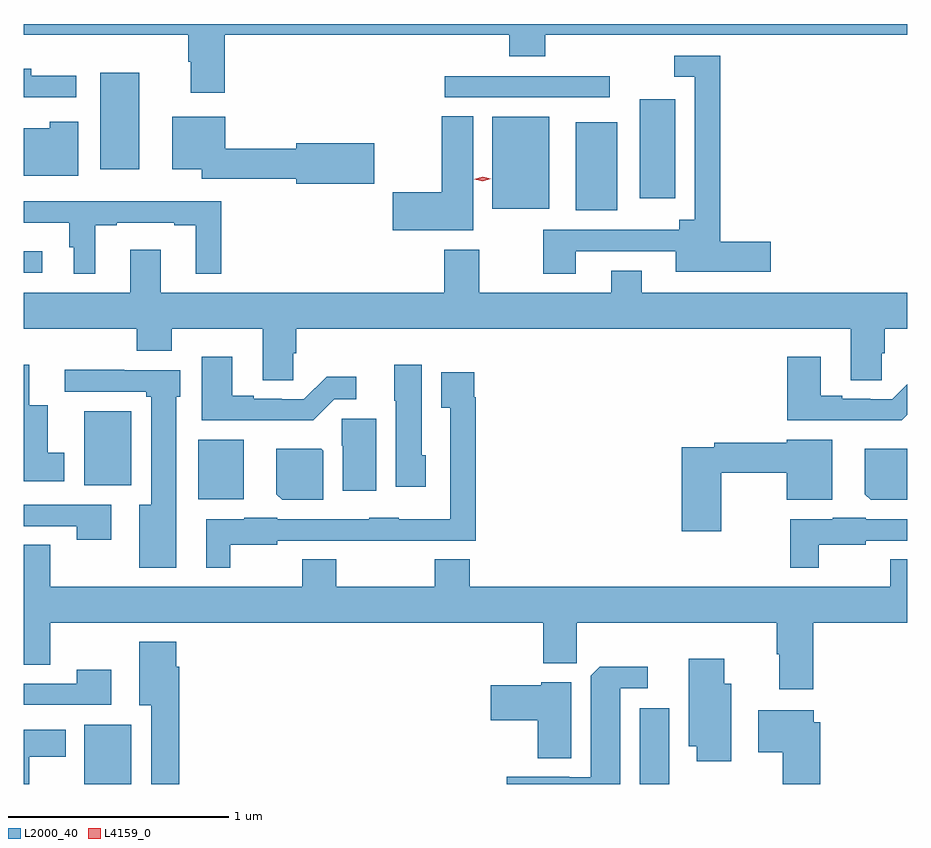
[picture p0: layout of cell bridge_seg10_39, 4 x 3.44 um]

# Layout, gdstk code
import gdstk
lib = gdstk.Library(unit=1e-6, precision=1e-09)
def R(c, l, rs):  # rectangles x0, y0, x1, y1
    for r in rs: c.add(gdstk.rectangle(r[:2], r[2:], *l))
def P(c, l, *ps):  # polygons
    for p in ps: c.add(gdstk.Polygon(p, *l))
L2000_40 = (2000, 40)
L4159_0 = (4159, 0)

bridge_seg10_39 = lib.new_cell('bridge_seg10_39')
R(bridge_seg10_39, L2000_40, [(927.638,1327.559,927.85,1327.828), (930.152,1327.559,930.286,1327.903), (928.154,1328.849,928.36,1329.118), (927.638,1328.912,927.85,1329.247), (927.364,1329.873,927.448,1329.97), (929.864,1330.157,930.052,1330.555), (929.486,1330.163,929.743,1330.579), (930.152,1330.212,930.313,1330.66), (927.71,1330.343,927.886,1330.78), (929.271,1330.668,930.016,1330.764)])
P(bridge_seg10_39, L2000_40, [(929.561,1330.853),(929.726,1330.853),(929.726,1330.952),(931.364,1330.952),(931.364,1331),(927.364,1331),(927.364,1330.952),(928.109,1330.952),(928.109,1330.829),(928.121,1330.829),(928.121,1330.689),(928.274,1330.689),(928.274,1330.952),(929.561,1330.952)],
  [(929.863,1329.972),(930.317,1329.972),(930.317,1329.878),(930.745,1329.878),(930.745,1330.013),(930.518,1330.013),(930.518,1330.857),(930.309,1330.857),(930.309,1330.761),(930.402,1330.761),(930.402,1330.114),(930.332,1330.114),(930.332,1330.068),(929.716,1330.068),(929.716,1329.87),(929.863,1329.87)],
  [(927.601,1330.766),(927.397,1330.766),(927.397,1330.798),(927.364,1330.798),(927.364,1330.668),(927.601,1330.668)],
  [(929.398,1330.583),(929.257,1330.583),(929.257,1330.238),(929.034,1330.238),(929.034,1330.067),(929.398,1330.067)],
  [(928.951,1330.46),(928.598,1330.46),(928.598,1330.436),(928.276,1330.436),(928.276,1330.579),(928.037,1330.579),(928.037,1330.343),(928.17,1330.343),(928.17,1330.3),(928.598,1330.3),(928.598,1330.277),(928.951,1330.277)],
  [(927.61,1330.558),(927.481,1330.558),(927.481,1330.528),(927.364,1330.528),(927.364,1330.313),(927.61,1330.313)],
  [(927.688,1330.089),(927.784,1330.089),(927.784,1330.101),(928.046,1330.101),(928.046,1330.089),(928.142,1330.089),(928.142,1329.869),(928.259,1329.869),(928.259,1330.198),(927.714,1330.198),(927.714,1330.197),(927.364,1330.197),(927.364,1330.1),(927.571,1330.1),(927.571,1329.99),(927.59,1329.99),(927.59,1329.869),(927.688,1329.869)],
  [(928.584,1329.51),(928.598,1329.51),(928.598,1329.62),(931.109,1329.62),(931.109,1329.388),(931.248,1329.388),(931.248,1329.51),(931.262,1329.51),(931.262,1329.62),(931.364,1329.62),(931.364,1329.784),(930.163,1329.784),(930.163,1329.883),(930.023,1329.883),(930.023,1329.784),(929.427,1329.784),(929.427,1329.979),(929.267,1329.979),(929.267,1329.784),(927.985,1329.784),(927.985,1329.979),(927.845,1329.979),(927.845,1329.784),(927.364,1329.784),(927.364,1329.62),(927.875,1329.62),(927.875,1329.521),(928.035,1329.521),(928.035,1329.62),(928.445,1329.62),(928.445,1329.388),(928.584,1329.388)],
  [(928.77,1329.3),(928.87,1329.3),(928.87,1329.403),(928.735,1329.403),(928.632,1329.3),(928.532,1329.3),(928.532,1329.303),(928.405,1329.303),(928.405,1329.316),(928.309,1329.316),(928.309,1329.493),(928.169,1329.493),(928.169,1329.206),(928.675,1329.206)],
  [(931.364,1329.231),(931.364,1329.368),(931.296,1329.3),(931.196,1329.3),(931.196,1329.303),(931.069,1329.303),(931.069,1329.316),(930.973,1329.316),(930.973,1329.493),(930.821,1329.493),(930.821,1329.206),(931.339,1329.206)],
  [(929.185,1329.048),(929.167,1329.048),(929.167,1329.457),(929.042,1329.457),(929.042,1329.294),(929.048,1329.294),(929.048,1328.904),(929.185,1328.904)],
  [(927.547,1329.058),(927.472,1329.058),(927.472,1329.274),(927.388,1329.274),(927.388,1329.457),(927.364,1329.457),(927.364,1328.93),(927.547,1328.93)],
  [(928.054,1329.312),(928.072,1329.312),(928.072,1329.432),(927.818,1329.432),(927.818,1329.434),(927.549,1329.434),(927.549,1329.336),(927.918,1329.336),(927.918,1329.312),(927.941,1329.312),(927.941,1328.824),(927.887,1328.824),(927.887,1328.538),(928.054,1328.538)],
  [(928.3,1328.642),(928.512,1328.642),(928.512,1328.661),(928.929,1328.661),(928.929,1328.66),(929.161,1328.66),(929.161,1328.661),(929.411,1328.661),(929.411,1329.311),(929.404,1329.311),(929.404,1329.424),(929.255,1329.424),(929.255,1329.263),(929.295,1329.263),(929.295,1328.758),(929.061,1328.758),(929.061,1328.764),(928.929,1328.764),(928.929,1328.757),(928.512,1328.757),(928.512,1328.764),(928.362,1328.764),(928.362,1328.758),(928.19,1328.758),(928.19,1328.537),(928.3,1328.537)],
  [(928.96,1329.213),(928.804,1329.213),(928.804,1329.09),(928.808,1329.09),(928.808,1328.886),(928.96,1328.886)],
  [(930.522,1328.968),(930.818,1328.968),(930.818,1328.846),(931.024,1328.846),(931.024,1329.118),(930.818,1329.118),(930.818,1329.104),(930.49,1329.104),(930.49,1329.084),(930.344,1329.084),(930.344,1328.703),(930.522,1328.703)],
  [(931.364,1329.076),(931.172,1329.076),(931.172,1328.872),(931.198,1328.846),(931.364,1328.846)],
  [(928.72,1329.068),(928.712,1329.076),(928.508,1329.076),(928.508,1328.872),(928.534,1328.846),(928.72,1328.846)],
  [(927.76,1328.823),(927.364,1328.823),(927.364,1328.727),(927.604,1328.727),(927.604,1328.664),(927.76,1328.664)],
  [(930.964,1328.642),(931.176,1328.642),(931.176,1328.661),(931.364,1328.661),(931.364,1328.757),(931.176,1328.757),(931.176,1328.764),(931.026,1328.764),(931.026,1328.758),(930.835,1328.758),(930.835,1328.537),(930.964,1328.537)],
  [(930.938,1328.288),(931.364,1328.288),(931.364,1328.576),(931.288,1328.576),(931.288,1328.452),(929.384,1328.452),(929.384,1328.576),(929.224,1328.576),(929.224,1328.452),(928.779,1328.452),(928.779,1328.576),(928.624,1328.576),(928.624,1328.452),(927.483,1328.452),(927.483,1328.642),(927.364,1328.642),(927.364,1328.098),(927.483,1328.098),(927.483,1328.288),(929.717,1328.288),(929.717,1328.106),(929.867,1328.106),(929.867,1328.288),(930.773,1328.288),(930.773,1328.147),(930.785,1328.147),(930.785,1327.989),(930.938,1327.989)],
  [(928.067,1328.09),(928.054,1328.09),(928.054,1328.203),(927.887,1328.203),(927.887,1327.916),(927.941,1327.916),(927.941,1327.559),(928.067,1327.559)],
  [(930.568,1328.014),(930.535,1328.014),(930.535,1328.125),(930.374,1328.125),(930.374,1327.73),(930.41,1327.73),(930.41,1327.662),(930.568,1327.662)],
  [(930.064,1327.992),(930.19,1327.992),(930.19,1328.09),(929.972,1328.09),(929.93,1328.048),(929.93,1327.59),(929.834,1327.59),(929.834,1327.591),(929.55,1327.591),(929.55,1327.559),(930.064,1327.559)],
  [(927.76,1328.077),(927.604,1328.077),(927.604,1328.013),(927.364,1328.013),(927.364,1327.917),(927.76,1327.917)],
  [(929.842,1328.02),(929.706,1328.02),(929.706,1328.005),(929.478,1328.005),(929.478,1327.847),(929.69,1327.847),(929.69,1327.676),(929.842,1327.676)],
  [(930.971,1327.839),(930.94,1327.839),(930.94,1327.894),(930.689,1327.894),(930.689,1327.703),(930.8,1327.703),(930.8,1327.559),(930.971,1327.559)],
  [(927.388,1327.682),(927.553,1327.682),(927.553,1327.804),(927.364,1327.804),(927.364,1327.559),(927.388,1327.559)])
P(bridge_seg10_39, L4159_0, [(929.441,1330.289),(929.403,1330.298),(929.403,1330.298),(929.403,1330.298),(929.441,1330.309),(929.479,1330.299),(929.479,1330.299),(929.479,1330.299)])

lib.write_gds('bridge_seg10_39.gds')
